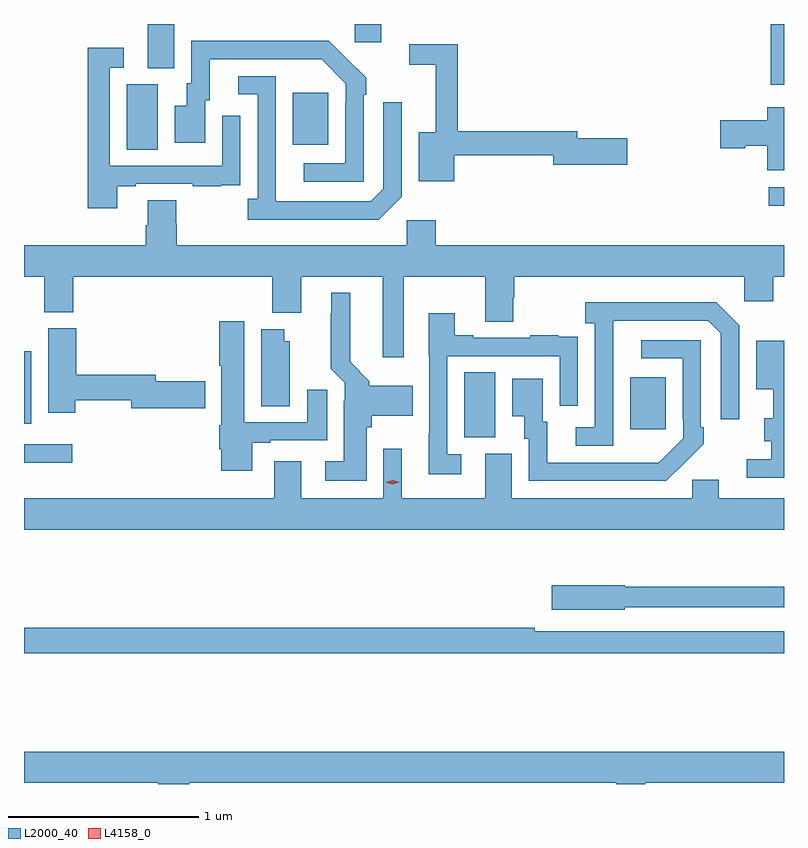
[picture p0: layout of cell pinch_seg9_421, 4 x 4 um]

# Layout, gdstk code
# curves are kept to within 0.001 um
import gdstk
lib = gdstk.Library(unit=1e-6, precision=1e-09)
def R(c, l, rs):  # rectangles x0, y0, x1, y1
    for r in rs: c.add(gdstk.rectangle(r[:2], r[2:], *l))
def P(c, l, *ps):  # polygons
    for p in ps: c.add(gdstk.Polygon(p, *l))
L2000_40 = (2000, 40)
L4158_0 = (4158, 0)

pinch_seg9_421 = lib.new_cell('pinch_seg9_421')
R(pinch_seg9_421, L2000_40, [(182.539,1211.424,182.794,1211.52), (184.856,1211.557,185.02,1211.9), (185.729,1211.601,185.917,1211.875), (182.539,1211.63,182.578,1212.01), (186.459,1212.777,186.539,1212.873), (183.08,1213.072,183.244,1213.416), (183.953,1213.097,184.141,1213.372), (186.469,1213.413,186.539,1213.733), (183.191,1213.501,183.331,1213.733), (184.281,1213.638,184.42,1213.733)])
P(pinch_seg9_421, L2000_40, [(184.326,1213.361),(184.341,1213.361),(184.341,1213.449),(184.144,1213.644),(183.42,1213.644),(183.42,1213.422),(183.395,1213.422),(183.395,1213.303),(183.332,1213.303),(183.332,1213.107),(183.493,1213.107),(183.493,1213.332),(183.517,1213.332),(183.517,1213.548),(184.105,1213.548),(184.233,1213.419),(184.233,1213.319),(184.23,1213.319),(184.23,1212.999),(184.011,1212.999),(184.011,1212.903),(184.326,1212.903)],
  [(184.804,1213.041),(185.324,1213.041),(185.324,1212.991),(185.713,1212.991),(185.713,1213.133),(185.452,1213.133),(185.452,1213.169),(184.823,1213.169),(184.823,1213.626),(184.566,1213.626),(184.566,1213.518),(184.706,1213.518),(184.706,1213.162),(184.616,1213.162),(184.616,1212.905),(184.804,1212.905)],
  [(183.031,1212.879),(183.127,1212.879),(183.127,1212.891),(183.427,1212.891),(183.427,1212.879),(183.575,1212.879),(183.575,1212.885),(183.677,1212.885),(183.677,1212.994),(183.678,1212.994),(183.678,1213.249),(183.582,1213.249),(183.582,1212.987),(182.991,1212.987),(182.991,1213.503),(183.064,1213.503),(183.064,1213.609),(182.875,1213.609),(182.875,1212.762),(183.031,1212.762)],
  [(184.527,1212.825),(184.527,1213.321),(184.431,1213.321),(184.431,1212.867),(184.365,1212.801),(183.865,1212.801),(183.864,1213.458),(183.666,1213.458),(183.666,1213.362),(183.768,1213.362),(183.768,1212.814),(183.717,1212.814),(183.717,1212.704),(184.406,1212.704)],
  [(186.539,1213.294),(186.452,1213.294),(186.452,1213.226),(186.204,1213.226),(186.204,1213.079),(186.336,1213.079),(186.336,1213.091),(186.452,1213.091),(186.452,1212.962),(186.539,1212.962)],
  [(184.537,1212.404),(184.967,1212.404),(184.967,1212.166),(185.115,1212.166),(185.115,1212.291),(185.12,1212.291),(185.12,1212.404),(186.33,1212.404),(186.33,1212.273),(186.482,1212.273),(186.482,1212.404),(186.539,1212.404),(186.539,1212.568),(184.706,1212.568),(184.706,1212.7),(184.554,1212.7),(184.554,1212.568),(183.344,1212.568),(183.344,1212.681),(183.339,1212.681),(183.339,1212.806),(183.191,1212.806),(183.191,1212.674),(183.179,1212.674),(183.179,1212.568),(182.539,1212.568),(182.539,1212.404),(182.645,1212.404),(182.645,1212.217),(182.798,1212.217),(182.798,1212.404),(183.845,1212.404),(183.845,1212.212),(183.997,1212.212),(183.997,1212.404),(184.427,1212.404),(184.427,1211.979),(184.537,1211.979)],
  [(184.342,1211.61),(184.368,1211.61),(184.368,1211.672),(184.585,1211.672),(184.585,1211.83),(184.356,1211.83),(184.356,1211.854),(184.255,1211.956),(184.255,1212.319),(184.157,1212.319),(184.157,1212.209),(184.153,1212.209),(184.153,1211.918),(184.227,1211.844),(184.227,1211.75),(184.223,1211.75),(184.223,1211.431),(184.125,1211.431),(184.125,1211.33),(184.342,1211.33)],
  [(185.64,1211.971),(185.641,1212.171),(186.141,1212.171),(186.207,1212.105),(186.207,1211.652),(186.303,1211.652),(186.303,1212.147),(186.182,1212.268),(185.493,1212.268),(185.493,1212.158),(185.544,1212.158),(185.544,1211.61),(185.442,1211.61),(185.442,1211.514),(185.64,1211.514)],
  [(184.84,1211.469),(184.767,1211.469),(184.767,1211.985),(185.358,1211.985),(185.358,1211.724),(185.454,1211.724),(185.454,1211.978),(185.453,1211.978),(185.453,1212.087),(185.351,1212.087),(185.351,1212.094),(185.203,1212.094),(185.203,1212.081),(184.903,1212.081),(184.903,1212.094),(184.807,1212.094),(184.807,1212.211),(184.67,1212.211),(184.67,1211.988),(184.671,1211.988),(184.671,1211.576),(184.67,1211.576),(184.67,1211.364),(184.84,1211.364)],
  [(183.739,1211.529),(183.835,1211.529),(183.835,1211.541),(184.135,1211.541),(184.135,1211.809),(184.031,1211.809),(184.031,1211.637),(183.697,1211.637),(183.697,1212.169),(183.566,1212.169),(183.566,1211.935),(183.578,1211.935),(183.578,1211.621),(183.566,1211.621),(183.566,1211.494),(183.578,1211.494),(183.578,1211.382),(183.739,1211.382)],
  [(182.808,1211.752),(183.104,1211.752),(183.104,1211.71),(183.493,1211.71),(183.493,1211.852),(183.232,1211.852),(183.232,1211.888),(182.813,1211.888),(182.813,1212.132),(182.666,1212.132),(182.666,1211.688),(182.808,1211.688)],
  [(183.937,1212.063),(183.91,1212.063),(183.91,1212.127),(183.788,1212.127),(183.788,1211.722),(183.937,1211.722)],
  [(186.011,1211.419),(186.012,1211.418),(186.117,1211.523),(186.117,1211.611),(186.102,1211.611),(186.102,1212.069),(185.787,1212.069),(185.787,1211.973),(186.006,1211.973),(186.006,1211.653),(186.009,1211.653),(186.009,1211.553),(185.881,1211.425),(185.293,1211.424),(185.293,1211.64),(185.269,1211.64),(185.269,1211.866),(185.108,1211.866),(185.108,1211.669),(185.171,1211.669),(185.171,1211.55),(185.196,1211.55),(185.196,1211.328),(185.92,1211.328)],
  [(186.539,1212.067),(186.392,1212.067),(186.392,1211.81),(186.482,1211.81),(186.482,1211.659),(186.434,1211.659),(186.434,1211.537),(186.471,1211.537),(186.471,1211.442),(186.342,1211.442),(186.342,1211.346),(186.539,1211.346)],
  [(186.539,1211.236),(186.196,1211.236),(186.196,1211.334),(186.057,1211.334),(186.057,1211.236),(185.107,1211.236),(185.107,1211.472),(184.967,1211.472),(184.967,1211.236),(184.528,1211.236),(184.528,1211.497),(184.431,1211.497),(184.431,1211.236),(183.997,1211.236),(183.997,1211.431),(183.857,1211.431),(183.857,1211.236),(182.539,1211.236),(182.539,1211.072),(186.539,1211.072)],
  [(185.7,1210.662),(186.539,1210.662),(186.539,1210.771),(185.7,1210.771),(185.7,1210.779),(185.316,1210.779),(185.316,1210.649),(185.7,1210.649)],
  [(186.539,1210.536),(185.228,1210.536),(185.228,1210.556),(182.539,1210.556),(182.539,1210.42),(186.539,1210.42)],
  [(183.41,1209.74),(185.657,1209.74),(185.657,1209.733),(185.808,1209.733),(185.808,1209.74),(186.539,1209.74),(186.539,1209.904),(182.539,1209.904),(182.539,1209.74),(183.245,1209.74),(183.245,1209.733),(183.41,1209.733)])
P(pinch_seg9_421, L4158_0, [(184.478,1211.311),(184.443,1211.321),(184.443,1211.322),(184.443,1211.322),(184.479,1211.331),(184.514,1211.321),(184.514,1211.321),(184.514,1211.32)])

lib.write_gds('pinch_seg9_421.gds')
